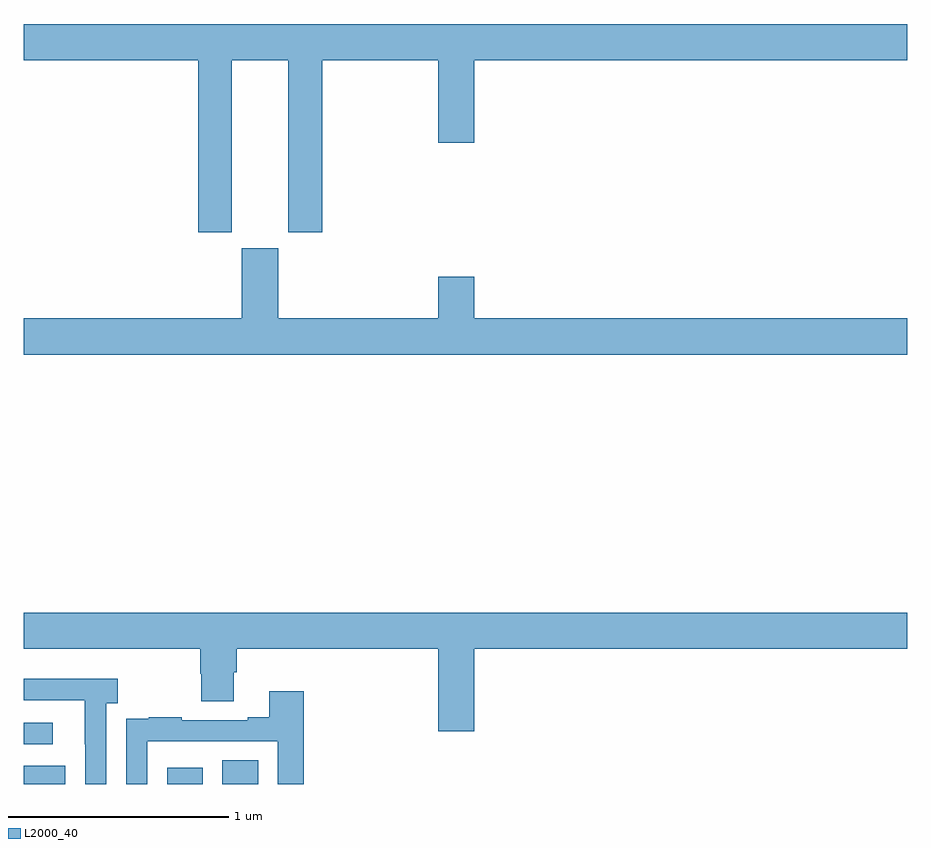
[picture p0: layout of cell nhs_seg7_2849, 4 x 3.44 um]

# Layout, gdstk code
import gdstk
lib = gdstk.Library(unit=1e-6, precision=1e-09)
def R(c, l, rs):  # rectangles x0, y0, x1, y1
    for r in rs: c.add(gdstk.rectangle(r[:2], r[2:], *l))
def P(c, l, *ps):  # polygons
    for p in ps: c.add(gdstk.Polygon(p, *l))
L2000_40 = (2000, 40)

nhs_seg7_2849 = lib.new_cell('nhs_seg7_2849')
R(nhs_seg7_2849, L2000_40, [(295.001,1004,295.189,1004.083), (295.649,1004,295.81,1004.074), (295.898,1004,296.062,1004.108), (295,1004.181,295.132,1004.277)])
P(nhs_seg7_2849, L2000_40, [(295.942,1007.276),(296.198,1007.276),(296.198,1006.497),(296.351,1006.497),(296.351,1007.276),(296.876,1007.276),(296.876,1006.902),(297.04,1006.902),(297.04,1007.276),(299,1007.276),(299,1007.44),(295,1007.44),(295,1007.276),(295.79,1007.276),(295.79,1006.497),(295.942,1006.497)],
  [(299,1006.108),(297.04,1006.108),(297.04,1006.297),(296.876,1006.297),(296.876,1006.108),(296.152,1006.108),(296.152,1006.425),(295.988,1006.425),(295.988,1006.108),(295,1006.108),(295,1005.944),(299,1005.944)],
  [(297.04,1004.612),(299,1004.612),(299,1004.776),(295,1004.776),(295,1004.612),(295.799,1004.612),(295.799,1004.499),(295.804,1004.499),(295.804,1004.374),(295.951,1004.374),(295.951,1004.506),(295.964,1004.506),(295.964,1004.612),(296.876,1004.612),(296.876,1004.238),(297.04,1004.238)],
  [(295.374,1004.366),(295.426,1004.366),(295.426,1004.476),(295,1004.476),(295,1004.379),(295.277,1004.379),(295.277,1004.179),(295.278,1004.179),(295.278,1004),(295.374,1004)],
  [(295.56,1004.193),(296.151,1004.193),(296.151,1004),(296.267,1004),(296.267,1004.419),(296.111,1004.419),(296.111,1004.302),(296.015,1004.302),(296.015,1004.289),(295.715,1004.289),(295.715,1004.302),(295.567,1004.302),(295.567,1004.295),(295.465,1004.295),(295.465,1004.186),(295.464,1004.186),(295.464,1004),(295.56,1004)])

lib.write_gds('nhs_seg7_2849.gds')
